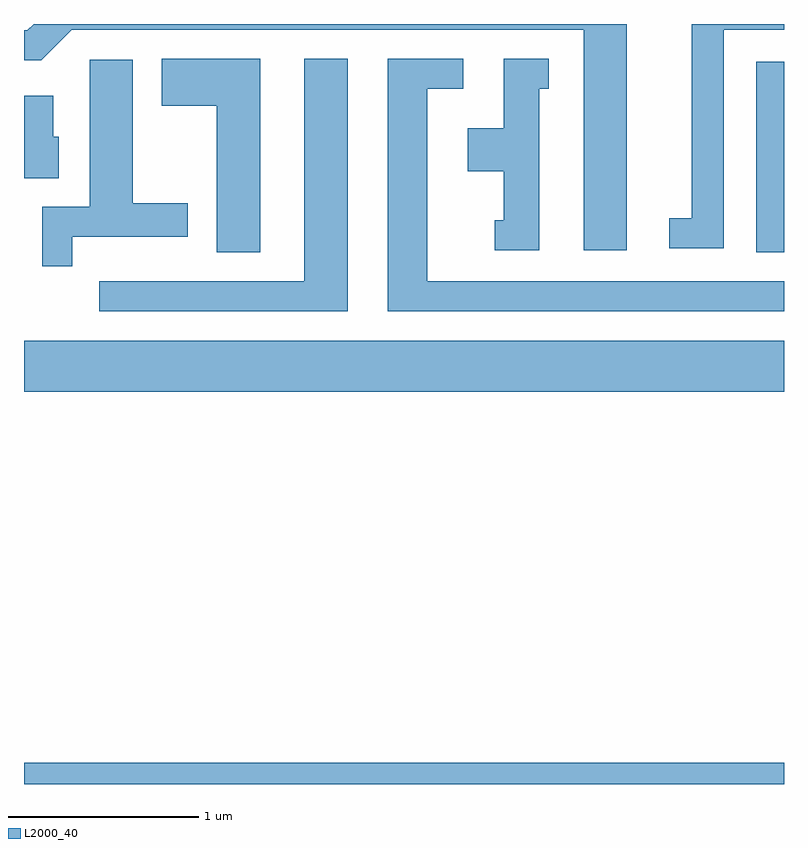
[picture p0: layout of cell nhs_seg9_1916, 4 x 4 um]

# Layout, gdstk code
import gdstk
lib = gdstk.Library(unit=1e-6, precision=1e-09)
def R(c, l, rs):  # rectangles x0, y0, x1, y1
    for r in rs: c.add(gdstk.rectangle(r[:2], r[2:], *l))
def P(c, l, *ps):  # polygons
    for p in ps: c.add(gdstk.Polygon(p, *l))
L2000_40 = (2000, 40)

nhs_seg9_1916 = lib.new_cell('nhs_seg9_1916')
R(nhs_seg9_1916, L2000_40, [(241.611,1976.432,245.611,1976.544), (241.611,1978.496,245.611,1978.764), (245.466,1979.231,245.611,1980.234)])
P(nhs_seg9_1916, L2000_40, [(244.784,1980.432),(241.662,1980.432),(241.629,1980.399),(241.611,1980.399),(241.611,1980.241),(241.702,1980.241),(241.862,1980.401),(244.556,1980.401),(244.556,1979.241),(244.784,1979.241)],
  [(245.294,1980.401),(245.611,1980.401),(245.611,1980.432),(245.126,1980.432),(245.126,1979.409),(245.008,1979.409),(245.008,1979.251),(245.294,1979.251)],
  [(243.314,1980.249),(243.086,1980.249),(243.086,1979.079),(242.008,1979.079),(242.008,1978.921),(243.314,1978.921)],
  [(245.611,1979.079),(243.734,1979.079),(243.734,1980.091),(243.923,1980.091),(243.923,1980.249),(243.526,1980.249),(243.526,1978.921),(245.611,1978.921)],
  [(242.854,1980.249),(242.336,1980.249),(242.336,1980.001),(242.626,1980.001),(242.626,1979.231),(242.854,1979.231)],
  [(244.324,1980.091),(244.373,1980.091),(244.373,1980.249),(244.136,1980.249),(244.136,1979.884),(243.946,1979.884),(243.946,1979.656),(244.136,1979.656),(244.136,1979.399),(244.088,1979.399),(244.088,1979.241),(244.324,1979.241)],
  [(241.864,1979.311),(242.474,1979.311),(242.474,1979.489),(242.184,1979.489),(242.184,1980.244),(241.956,1980.244),(241.956,1979.469),(241.706,1979.469),(241.706,1979.158),(241.864,1979.158)],
  [(241.794,1979.839),(241.764,1979.839),(241.764,1980.054),(241.611,1980.054),(241.611,1979.621),(241.794,1979.621)])

lib.write_gds('nhs_seg9_1916.gds')
